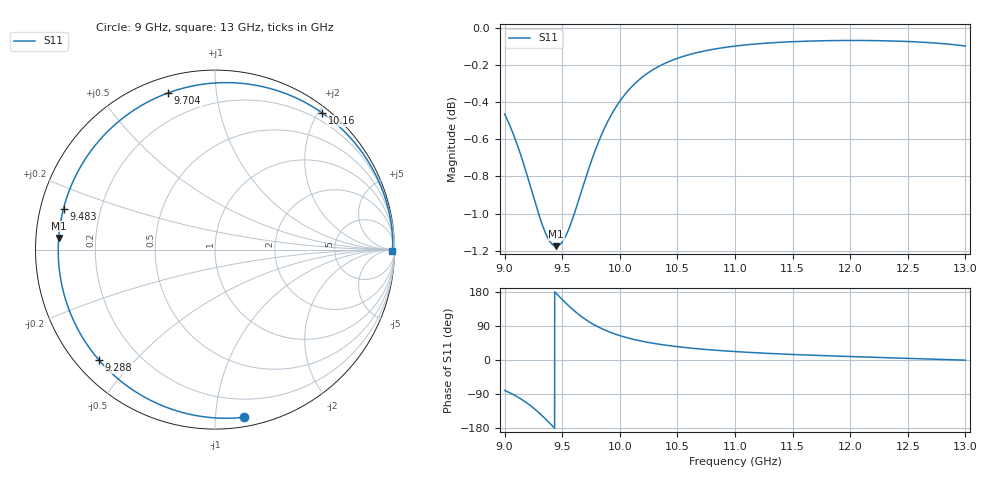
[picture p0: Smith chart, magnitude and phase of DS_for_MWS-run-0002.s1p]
! TOUCHSTONE file generated by CST DESIGN STUDIO
! Date and time: Tue Feb  4 17:15:52 2025
! Project name: C:\Work\MatlabApps\UnitCellOptimizationMatlab\CST\unitcell.cst
! Tree item: Tasks\Sweep1\SPara1\S-Parameters
! Header version: 2024
! Port assignment regex: !\s*Touchstone port\s*([0-9]+)\s*=\s*(CST MWS port|CST DES external port|CST DES block port)\s*(.+)\s* \(\"(.*)\"\)(\s*mode\s*([0-9]+))?.*
! Touchstone port assignment:
! Touchstone port 1 = CST DES external port 1 ("")
# GHz S MA R 50
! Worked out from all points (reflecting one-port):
!   4001 points, 9 GHz to 13 GHz, reference 50 ohm
!   lowest |S11| = -1.2 dB at 9.448 GHz (marker M1), VSWR 14.80, Z = 3.38 + j1.85 ohm
!   phase of S11 starts at -80 deg and turns -280 deg over the sweep
!   S11 on the Smith chart (normalised r, x): 9 GHz: 0.06, -1.18; 9.288 GHz: 0.07, -0.40; 9.483 GHz: 0.07, +0.13; 9.704 GHz: 0.07, +0.74; 10.16 GHz: 0.09, +2.05; 13 GHz: open
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9  0.948 -80.3
9.088  0.9341 -93.3
9.16  0.9202 -106.4
9.226  0.9059 -120.8
9.288  0.8926 -136.5
9.333  0.884 -149.0
9.373  0.8781 -161.0
9.411  0.8746 -172.7
9.448  0.8734 175.7
9.483  0.8745 164.8
9.5  0.8757 159.6
9.553  0.8821 143.9
9.602  0.8906 130.5
9.652  0.9006 118.1
9.704  0.9112 106.7
9.772  0.9243 93.9
9.851  0.9374 81.6
9.923  0.9472 72.5
10  0.9556 64.4
10.156  0.9677 51.9
10.312  0.9754 43.0
10.5  0.9814 35.1
10.723  0.9857 28.4
11  0.9888 22.2
11.5  0.9915 14.6
12  0.9923 9.1
12.5  0.9916 4.4
13  0.9889 -0.4
